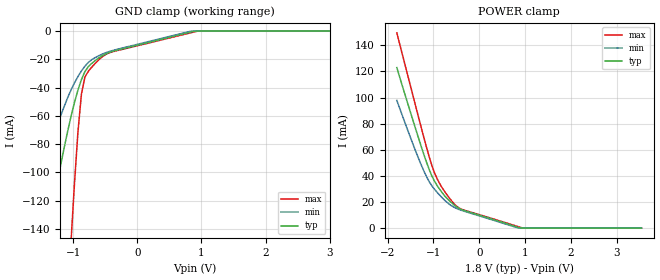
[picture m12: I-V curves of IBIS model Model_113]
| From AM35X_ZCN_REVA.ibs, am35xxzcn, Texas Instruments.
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| Model based on original model for BSSTL18TCSCGPBFZ_7LM
|   Sub model LF_TERM_SSTL_0.1_1P8
[model]   Model_113
|[Description]  1.8V-INPUT-HALF_SSTL-X-+-0.1V
|[Input Load]   HALF_SSTL
|[Output Drive]
|Voltage   1.8V
|Mode   INPUT
Model_type   Input
Polarity   Non-Inverting
Vinl =  0.8
Vinh =  1
C_comp   3.009089p   2.23501p   3.95018p
[Model Spec]
Vinl   0.8   0.75   0.85
Vinh   1   0.95   1.05
[Temperature Range]   25   125   -40
[Voltage Range]   1.8   1.7   1.9
[POWER_clamp]
-1.8V     123mA      97.85mA    149.6mA
-1.309V   67.13mA    52mA       82.68mA
-1.145V   49.92mA    39.06mA    61.14mA
-1.036V   40.14mA    32.51mA    48.14mA
-927.3mV  33.07mA    27.7mA     38.35mA
-818.2mV  27.54mA    23.61mA    31.37mA
-654.5mV  21.1mA     18.32mA    23.2mA
-490.9mV  16.23mA    15.02mA    16.68mA
-327.3mV  13.47mA    12.96mA    13.76mA
818.2mV   986.3uA    455.6uA    1.533mA
981.8mV   0A         0A         0A
3.545V    0A         0A         0A
[GND_clamp]
-1.8V     -238.9mA   -143.1mA   -823mA
-1.418V   -146.7mA   -89.2mA    -482.3mA
-1.364V   -133.7mA   -81.8mA    -433.5mA
-1.036V   -60.63mA   -41.79mA   -150.1mA
-981.8mV  -50.62mA   -36.69mA   -108.3mA
-927.3mV  -41.81mA   -32.19mA   -71.56mA
-872.7mV  -34.34mA   -28.23mA   -44.59mA
-818.2mV  -28.67mA   -24.82mA   -32.51mA
-654.5mV  -20.78mA   -18.67mA   -22.72mA
-436.4mV  -15.06mA   -14.43mA   -15.34mA
927.3mV   0A         0A         -167.4uA
3.545V    0A         0A         0A
